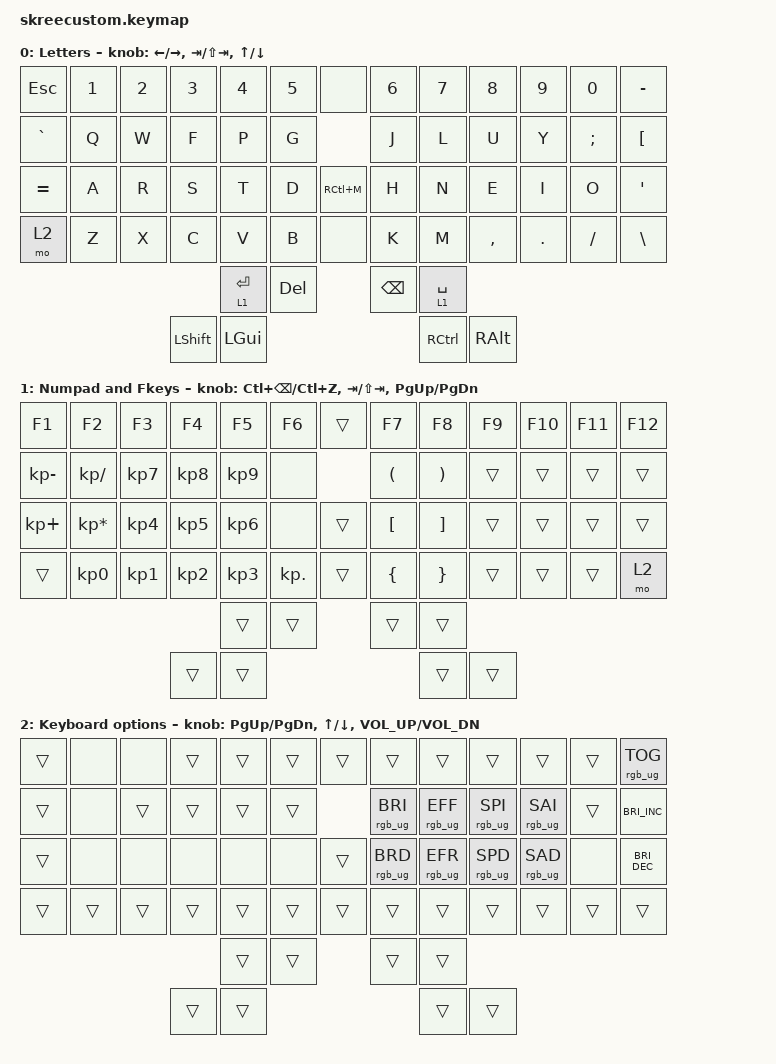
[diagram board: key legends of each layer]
/*
 * Copyright (c) 2020 The ZMK Contributors
 * 
 * SPDX-License-Identifier: MIT
 */

#include <input/processors.dtsi>
#include <dt-bindings/zmk/input_transform.h>
#include <behaviors.dtsi>
#include <dt-bindings/zmk/backlight.h>
#include <dt-bindings/zmk/bt.h>
#include <dt-bindings/zmk/keys.h>
#include <dt-bindings/zmk/rgb.h>

/ {
    behaviors {
        SpaceTapDance: SpaceTapDance {
            compatible = "zmk,behavior-tap-dance";
            label = "SPACETAPDANCE";
            #binding-cells = <0>;
            bindings = <&kp SPACE>, <&kp ENTER>;
        };

        hold_tap_thumbs: hold_tap_thumbs {
            compatible = "zmk,behavior-hold-tap";
            label = "HOLD_TAP_THUMBS";
            bindings = <&kp>, <&kp>;

            #binding-cells = <2>;
            flavor = "tap-preferred";
            tapping-term-ms = <300>;
        };

        hold_tap_thumbs2: hold_tap_thumbs2 {
            compatible = "zmk,behavior-hold-tap";
            label = "HOLD_TAP_THUMBS2";
            bindings = <&mo>, <&kp>;

            #binding-cells = <2>;
            flavor = "tap-preferred";
            tapping-term-ms = <250>;
        };
    };

    combos {
        compatible = "zmk,combos";

        BluetoothProfile1 {
            bindings = <&bt BT_SEL 0>;
            key-positions = <26 51 54>;
        };

        BluetoothProfile2 {
            bindings = <&bt BT_SEL 1>;
            key-positions = <27 51 54>;
        };

        BluetoothProfile3 {
            bindings = <&bt BT_SEL 2>;
            key-positions = <28 51 54>;
        };

        BluetoothProfile4 {
            bindings = <&bt BT_SEL 3>;
            key-positions = <51 54 29>;
        };

        BluetoothProfile5 {
            bindings = <&bt BT_SEL 4>;
            key-positions = <30 51 54>;
        };

        BluetoothProfileClear {
            bindings = <&bt BT_CLR>;
            key-positions = <51 54 0>;
        };

        BacklightToggle {
            bindings = <&bl BL_TOG>;
            key-positions = <33 54 51>;
        };
    };

    keymap {
        compatible = "zmk,keymap";

        letters {
            bindings = <
&kp ESC    &kp N1  &kp N2  &kp N3          &kp N4        &kp N5      &none               &kp N6         &kp N7             &kp N8         &kp N9   &kp N0         &kp MINUS
&kp GRAVE  &kp Q   &kp W   &kp F           &kp P         &kp G                           &kp J          &kp L              &kp U          &kp Y    &kp SEMICOLON  &kp LBKT
&kp EQUAL  &kp A   &kp R   &kp S           &kp T         &kp D                &kp RC(M)  &kp H          &kp N              &kp E          &kp I    &kp O          &kp SQT
&mo 2      &kp Z   &kp X   &kp C           &kp V         &kp B       &none               &kp K          &kp M              &kp COMMA      &kp DOT  &kp FSLH       &kp BSLH
                                           &lt 1 ENTER   &kp DELETE                      &kp BACKSPACE  &lt 1 SPACE
                           &kp LEFT_SHIFT  &kp LEFT_GUI                                                 &kp RIGHT_CONTROL  &kp RIGHT_ALT
            >;

            sensor-bindings =
                <&inc_dec_kp LEFT RIGHT>,
                <&inc_dec_kp TAB LS(TAB)>,
                <&inc_dec_kp UP_ARROW DOWN>;

            label = "Letters";
        };

        numpad_fkeys {
            bindings = <
&kp F1        &kp F2           &kp F3           &kp F4           &kp F5           &kp F6      &trans            &kp F7                &kp F8                 &kp F9  &kp F10  &kp F11  &kp F12
&kp KP_MINUS  &kp KP_DIVIDE    &kp KP_NUMBER_7  &kp KP_NUMBER_8  &kp KP_NUMBER_9  &none                         &kp LEFT_PARENTHESIS  &kp RIGHT_PARENTHESIS  &trans  &trans   &trans   &trans
&kp KP_PLUS   &kp KP_MULTIPLY  &kp KP_NUMBER_4  &kp KP_NUMBER_5  &kp KP_NUMBER_6  &none                 &trans  &kp LEFT_BRACKET      &kp RIGHT_BRACKET      &trans  &trans   &trans   &trans
&trans        &kp KP_NUMBER_0  &kp KP_NUMBER_1  &kp KP_NUMBER_2  &kp KP_NUMBER_3  &kp KP_DOT  &trans            &kp LEFT_BRACE        &kp RIGHT_BRACE        &trans  &trans   &trans   &mo 2
                                                                 &trans           &trans                        &trans                &trans
                                                &trans           &trans                                                               &trans                 &trans
            >;

            sensor-bindings =
                <&inc_dec_kp LC(BACKSPACE) LC(Z)>,
                <&inc_dec_kp TAB LS(TAB)>,
                <&inc_dec_kp PAGE_UP PAGE_DOWN>;

            label = "Numpad and Fkeys";
        };

        configuration {
            bindings = <
&trans  &none   &none   &trans  &trans  &trans  &trans            &trans           &trans           &trans           &trans           &trans  &rgb_ug RGB_TOG
&trans  &none   &trans  &trans  &trans  &trans                    &rgb_ug RGB_BRI  &rgb_ug RGB_EFF  &rgb_ug RGB_SPI  &rgb_ug RGB_SAI  &trans  &kp C_BRIGHTNESS_INC
&trans  &none   &none   &none   &none   &none             &trans  &rgb_ug RGB_BRD  &rgb_ug RGB_EFR  &rgb_ug RGB_SPD  &rgb_ug RGB_SAD  &none   &kp C_BRIGHTNESS_DEC
&trans  &trans  &trans  &trans  &trans  &trans  &trans            &trans           &trans           &trans           &trans           &trans  &trans
                                &trans  &trans                    &trans           &trans
                        &trans  &trans                                             &trans           &trans
            >;

            sensor-bindings =
                <&inc_dec_kp PG_UP PG_DN>,
                <&inc_dec_kp UP DOWN>,
                <&inc_dec_kp C_VOL_UP C_VOL_DN>;

            label = "Keyboard options";
        };
    };
};

// //right hand trackball overrides
// &trackball_peripheral_listener {
//     input-processors =
//         <&zip_xy_transform INPUT_TRANSFORM_XY_SWAP>,//this gets it to the default installation orientation
//         <&zip_temp_layer 3 500>;//activate layer 3 within 500ms of the trackball moving
// };
// //left hand trackball overrides 
// &trackball_central_listener {
//     input-processors = 
//         <&zip_xy_transform INPUT_TRANSFORM_XY_SWAP>,//this gets it to the default installation orientation
//         <&zip_xy_scaler 1 3>,//multiply sensitivity by 1, divide by 3 (make it slower for scrolling)
//         <&zip_xy_to_scroll_mapper>,//make this trackball output scrolling events by default instead of cursor movement
//         <&zip_scroll_transform INPUT_TRANSFORM_Y_INVERT>;//invert vertical scrolling so that the view moves in the same direction as the top of the trackball.
// };
